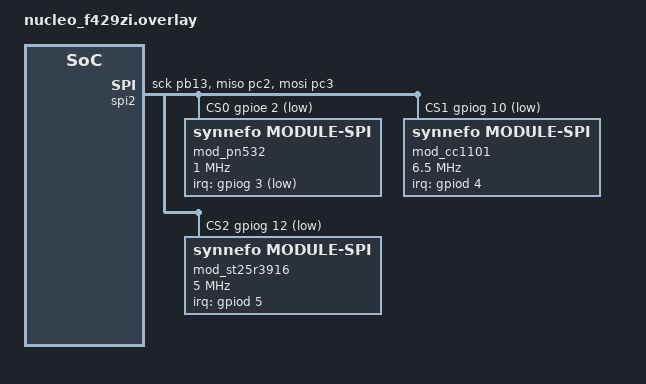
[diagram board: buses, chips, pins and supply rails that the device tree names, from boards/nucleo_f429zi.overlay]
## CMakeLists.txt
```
# SPDX-License-Identifier: GPL-3.0-or-later
cmake_minimum_required(VERSION 3.20.0)
list(APPEND DTS_ROOT ${CMAKE_CURRENT_SOURCE_DIR})
find_package(Zephyr REQUIRED HINTS $ENV{ZEPHYR_BASE})
project(spi3_derisk)
target_sources(app PRIVATE src/main.c)
```

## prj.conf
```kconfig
CONFIG_SPI=y
CONFIG_GPIO=y
CONFIG_LOG=y
```

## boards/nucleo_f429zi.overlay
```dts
/* SPDX-License-Identifier: GPL-3.0-or-later
 * Shared expansion SPI (SPI2) with three SM-S modules. Pins from 02-pin-maps.md (STM32F429ZIT6):
 * SCK PB13, MISO PC2, MOSI PC3; CS_P1..3 = PE2, PG10, PG12; IRQ_P1..3 = PG3, PD4, PD5. */
&spi2 {
	status = "okay";
	pinctrl-0 = <&spi2_sck_pb13 &spi2_miso_pc2 &spi2_mosi_pc3>;
	pinctrl-names = "default";
	cs-gpios = <&gpioe 2 GPIO_ACTIVE_LOW>, <&gpiog 10 GPIO_ACTIVE_LOW>, <&gpiog 12 GPIO_ACTIVE_LOW>;

	mod_pn532: mod_pn532@0 {
		compatible = "synnefo,module-spi";
		reg = <0>;
		spi-max-frequency = <1000000>;
		spi-lsb-first;
		irq-gpios = <&gpiog 3 GPIO_ACTIVE_LOW>;
	};
	mod_cc1101: mod_cc1101@1 {
		compatible = "synnefo,module-spi";
		reg = <1>;
		spi-max-frequency = <6500000>;
		irq-gpios = <&gpiod 4 GPIO_ACTIVE_HIGH>;
	};
	mod_st25r3916: mod_st25r3916@2 {
		compatible = "synnefo,module-spi";
		reg = <2>;
		spi-max-frequency = <5000000>;
		spi-cpha;
		irq-gpios = <&gpiod 5 GPIO_ACTIVE_HIGH>;
	};
};
```

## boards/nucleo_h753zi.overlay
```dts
/* SPDX-License-Identifier: GPL-3.0-or-later
 * Shared expansion SPI (SPI2) with three SM-S modules. Pins from 02-pin-maps.md (STM32H743 on the 144-pin Nucleo: the 176-pin map uses PI2/PC1, which this package lacks):
 * SCK PB13, MISO PC2, MOSI PC3; CS_P1..3 = PE2, PG10, PG12; IRQ_P1..3 = PG3, PD4, PD5. */
&spi2 {
	status = "okay";
	pinctrl-0 = <&spi2_sck_pb13 &spi2_miso_pc2_c &spi2_mosi_pc3_c>;
	pinctrl-names = "default";
	cs-gpios = <&gpioe 2 GPIO_ACTIVE_LOW>, <&gpiog 10 GPIO_ACTIVE_LOW>, <&gpiog 12 GPIO_ACTIVE_LOW>;

	mod_pn532: mod_pn532@0 {
		compatible = "synnefo,module-spi";
		reg = <0>;
		spi-max-frequency = <1000000>;
		spi-lsb-first;
		irq-gpios = <&gpiog 3 GPIO_ACTIVE_LOW>;
	};
	mod_cc1101: mod_cc1101@1 {
		compatible = "synnefo,module-spi";
		reg = <1>;
		spi-max-frequency = <6500000>;
		irq-gpios = <&gpiod 4 GPIO_ACTIVE_HIGH>;
	};
	mod_st25r3916: mod_st25r3916@2 {
		compatible = "synnefo,module-spi";
		reg = <2>;
		spi-max-frequency = <5000000>;
		spi-cpha;
		irq-gpios = <&gpiod 5 GPIO_ACTIVE_HIGH>;
	};
};
```

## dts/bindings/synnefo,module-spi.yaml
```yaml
# SPDX-License-Identifier: GPL-3.0-or-later
description: SMIS SM-S module sharing one SPI bus; its bus settings come from the module descriptor
compatible: "synnefo,module-spi"
include: spi-device.yaml
properties:
  irq-gpios:
    type: phandle-array
    description: Module interrupt line; polarity (active high or low) set in the gpio flags
```

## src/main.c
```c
/*
 * SPDX-License-Identifier: GPL-3.0-or-later
 *
 * De-risk build 3 for "Flip my flipper": three modules with different SPI modes on one
 * bus, each with its own struct spi_config built from the devicetree:
 *   PN532     mode 0, LSB first, 1 MHz   (IRQ active low)
 *   CC1101    mode 0, MSB first, 6.5 MHz (burst limit without inter-byte delay)
 *   ST25R3916 mode 1, MSB first, 5 MHz   (IRQ active high)
 * The BUILD_ASSERTs fail the build if the devicetree does not yield the intended flags.
 * Build-level proof only: nothing here has run on hardware.
 */
#include <zephyr/kernel.h>
#include <zephyr/device.h>
#include <zephyr/drivers/spi.h>
#include <zephyr/drivers/gpio.h>
#include <zephyr/logging/log.h>

LOG_MODULE_REGISTER(spi3_derisk, LOG_LEVEL_INF);

#define OPS (SPI_WORD_SET(8) | SPI_OP_MODE_CONTROLLER)

#define PN532_N     DT_NODELABEL(mod_pn532)
#define CC1101_N    DT_NODELABEL(mod_cc1101)
#define ST25R_N     DT_NODELABEL(mod_st25r3916)

/* One struct spi_config per device: the STM32 driver reprograms CPOL/CPHA/bit order/prescaler
 * whenever the config POINTER differs from the last one used (spi_context_configured()).
 * Changing a shared struct in place would be missed, so never do that. */
static const struct spi_dt_spec pn532 = SPI_DT_SPEC_GET(PN532_N, OPS);
static const struct spi_dt_spec cc1101 = SPI_DT_SPEC_GET(CC1101_N, OPS);
static const struct spi_dt_spec st25r = SPI_DT_SPEC_GET(ST25R_N, OPS);

static const struct gpio_dt_spec irq_pn532 = GPIO_DT_SPEC_GET(PN532_N, irq_gpios);
static const struct gpio_dt_spec irq_cc1101 = GPIO_DT_SPEC_GET(CC1101_N, irq_gpios);
static const struct gpio_dt_spec irq_st25r = GPIO_DT_SPEC_GET(ST25R_N, irq_gpios);

/* All three are on the same bus controller */
BUILD_ASSERT(DT_SAME_NODE(DT_BUS(PN532_N), DT_BUS(CC1101_N)));
BUILD_ASSERT(DT_SAME_NODE(DT_BUS(PN532_N), DT_BUS(ST25R_N)));

/* Compile-time checks on what the devicetree says (SPI_CONFIG_DT is an initializer and cannot be
 * used inside an expression, so the properties are read directly) */
/* PN532: mode 0 (no CPOL, no CPHA), LSB first, 1 MHz */
BUILD_ASSERT(!DT_PROP(PN532_N, spi_cpol) && !DT_PROP(PN532_N, spi_cpha));
BUILD_ASSERT(DT_PROP(PN532_N, spi_lsb_first));
BUILD_ASSERT(DT_PROP(PN532_N, spi_max_frequency) == 1000000);

/* CC1101: mode 0, MSB first, 6.5 MHz */
BUILD_ASSERT(!DT_PROP(CC1101_N, spi_cpol) && !DT_PROP(CC1101_N, spi_cpha));
BUILD_ASSERT(!DT_PROP(CC1101_N, spi_lsb_first));
BUILD_ASSERT(DT_PROP(CC1101_N, spi_max_frequency) == 6500000);

/* ST25R3916: CPOL 0, CPHA 1 (mode 1), MSB first, 5 MHz */
BUILD_ASSERT(!DT_PROP(ST25R_N, spi_cpol) && DT_PROP(ST25R_N, spi_cpha));
BUILD_ASSERT(!DT_PROP(ST25R_N, spi_lsb_first));
BUILD_ASSERT(DT_PROP(ST25R_N, spi_max_frequency) == 5000000);

/* IRQ polarity comes from the gpio flags in the devicetree */
BUILD_ASSERT((DT_GPIO_FLAGS(PN532_N, irq_gpios) & GPIO_ACTIVE_LOW) != 0);
BUILD_ASSERT((DT_GPIO_FLAGS(ST25R_N, irq_gpios) & GPIO_ACTIVE_LOW) == 0);

/* A transaction on one module, serialised by the caller (the SPI arbiter in the real firmware) */
static int xfer(const struct spi_dt_spec *dev, uint8_t *tx, uint8_t *rx, size_t len)
{
	const struct spi_buf txb = { .buf = tx, .len = len };
	const struct spi_buf rxb = { .buf = rx, .len = len };
	const struct spi_buf_set txs = { .buffers = &txb, .count = 1 };
	const struct spi_buf_set rxs = { .buffers = &rxb, .count = 1 };

	return spi_transceive_dt(dev, &txs, &rxs);
}

int main(void)
{
	uint8_t tx[4] = { 0 }, rx[4];

	if (!spi_is_ready_dt(&pn532) || !spi_is_ready_dt(&cc1101) || !spi_is_ready_dt(&st25r)) {
		LOG_ERR("SPI bus not ready");
		return 0;
	}
	ARG_UNUSED(irq_pn532);
	ARG_UNUSED(irq_cc1101);
	ARG_UNUSED(irq_st25r);

	/* The flags the SPI driver will actually receive for each device */
	LOG_INF("pn532 op=0x%04x f=%u | cc1101 op=0x%04x f=%u | st25r op=0x%04x f=%u",
		pn532.config.operation, pn532.config.frequency,
		cc1101.config.operation, cc1101.config.frequency,
		st25r.config.operation, st25r.config.frequency);
	__ASSERT(pn532.config.operation & SPI_TRANSFER_LSB, "PN532 must be LSB first");
	__ASSERT(!(cc1101.config.operation & SPI_TRANSFER_LSB), "CC1101 must be MSB first");
	__ASSERT(st25r.config.operation & SPI_MODE_CPHA, "ST25R3916 must be mode 1");

	/* Interleaved use of the shared bus: each call reconfigures the controller as needed */
	for (int i = 0; i < 3; i++) {
		LOG_INF("pn532 %d", xfer(&pn532, tx, rx, sizeof(tx)));
		LOG_INF("cc1101 %d", xfer(&cc1101, tx, rx, sizeof(tx)));
		LOG_INF("st25r3916 %d", xfer(&st25r, tx, rx, sizeof(tx)));
	}
	return 0;
}
```
